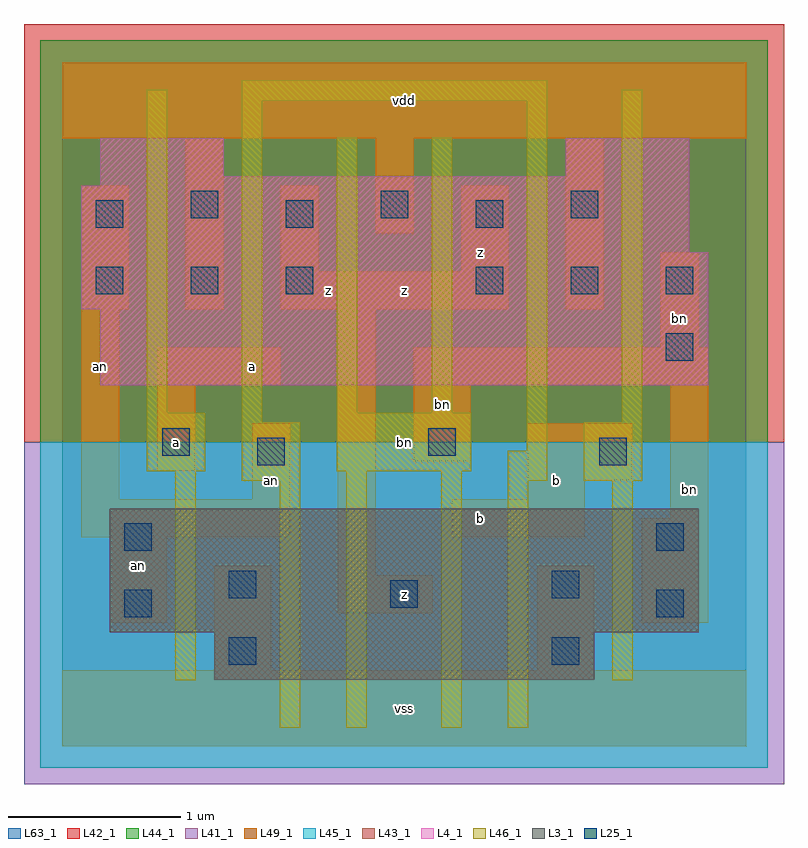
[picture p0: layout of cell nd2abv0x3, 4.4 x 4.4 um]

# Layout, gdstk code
import gdstk
lib = gdstk.Library(unit=1e-6, precision=1e-09)
def R(c, l, rs):  # rectangles x0, y0, x1, y1
    for r in rs: c.add(gdstk.rectangle(r[:2], r[2:], *l))
def A(c, l, x, y, w, h, nx, ny, dx, dy):  # array of equal rectangles
    R(c, l, [(x+i*dx, y+j*dy, x+i*dx+w, y+j*dy+h) for i in range(nx) for j in range(ny)])
L3_1 = (3, 1)
L4_1 = (4, 1)
L25_1 = (25, 1)
L41_1 = (41, 1)
L42_1 = (42, 1)
L43_1 = (43, 1)
L44_1 = (44, 1)
L45_1 = (45, 1)
L46_1 = (46, 1)
L49_1 = (49, 1)
L63_1 = (63, 1)

nd2abv0x3 = lib.new_cell('nd2abv0x3')
R(nd2abv0x3, L3_1, [(0.88,0.385,3.08,0.66), (0.275,0.66,3.685,1.375)])
R(nd2abv0x3, L4_1, [(0.22,2.09,3.74,2.53), (0.11,2.53,3.74,2.86), (0.11,2.86,3.63,3.245), (0.22,3.245,3.63,3.3), (0.22,3.3,0.935,3.52), (2.915,3.3,3.63,3.52)])
A(nd2abv0x3, L25_1, 0.195, 2.615, 0.16, 0.16, 3, 1, 0.55, 0)
A(nd2abv0x3, L25_1, 2.395, 2.615, 0.16, 0.16, 3, 1, 0.55, 0)
A(nd2abv0x3, L25_1, 0.195, 3, 0.16, 0.16, 3, 1, 1.1, 0)
A(nd2abv0x3, L25_1, 0.745, 3.055, 0.16, 0.16, 3, 1, 1.1, 0)
R(nd2abv0x3, L25_1, [(0.965,0.47,1.125,0.63), (2.835,0.47,2.995,0.63), (0.36,0.745,0.52,0.905), (3.44,0.745,3.6,0.905), (1.9,0.8,2.06,0.96), (0.965,0.855,1.125,1.015), (2.835,0.855,2.995,1.015), (0.36,1.13,0.52,1.29), (3.44,1.13,3.6,1.29), (1.13,1.625,1.29,1.785), (3.11,1.625,3.27,1.785), (0.58,1.68,0.74,1.84), (2.12,1.68,2.28,1.84), (3.495,2.23,3.655,2.39)])
R(nd2abv0x3, L41_1, [(-0.22,-0.22,4.18,1.76)])
R(nd2abv0x3, L42_1, [(-0.22,1.76,4.18,4.18)])
R(nd2abv0x3, L43_1, [(0.88,0.385,3.08,0.66), (0.275,0.66,3.685,1.375), (0.22,2.09,3.74,2.53), (0.11,2.53,3.74,2.86), (0.11,2.86,3.63,3.245), (0.22,3.245,3.63,3.3), (0.22,3.3,0.935,3.52), (2.915,3.3,3.63,3.52)])
R(nd2abv0x3, L44_1, [(-0.125,1.76,4.085,4.085)])
R(nd2abv0x3, L45_1, [(-0.125,-0.125,4.085,1.76)])
R(nd2abv0x3, L46_1, [(1.26,0.105,1.38,1.535), (1.645,0.105,1.765,1.59), (2.195,0.105,2.315,1.59), (2.58,0.105,2.7,1.535), (0.655,0.38,0.775,1.59), (3.185,0.38,3.305,1.535), (1.04,1.535,1.38,1.875), (2.58,1.535,2.81,1.71), (3.02,1.535,3.36,1.875), (0.49,1.59,0.83,1.93), (1.59,1.59,2.37,1.93), (2.69,1.71,2.81,3.735), (1.04,1.875,1.16,3.735), (3.24,1.875,3.36,3.8), (0.49,1.93,0.61,3.8), (1.59,1.93,1.71,3.525), (2.14,1.93,2.26,3.525), (1.04,3.735,2.81,3.855)])
R(nd2abv0x3, L49_1, [(0,0,3.96,0.44), (0.88,0.44,1.21,1.045), (2.75,0.44,3.08,1.045), (0.275,0.715,0.605,1.21), (3.355,0.715,3.74,1.32), (1.595,0.77,2.145,0.99), (1.595,0.99,1.815,2.53), (0.11,1.21,1.32,1.43), (2.255,1.21,3.025,1.43), (3.52,1.32,3.74,2.09), (0.11,1.43,0.33,2.53), (1.1,1.43,1.32,1.87), (2.695,1.43,3.025,1.54), (2.695,1.54,3.3,1.87), (0.55,1.595,0.77,2.09), (2.035,1.65,2.365,2.09), (0.55,2.09,1.265,2.31), (2.035,2.09,3.74,2.31), (3.465,2.31,3.685,2.86), (0.11,2.53,0.385,3.245), (0.715,2.53,0.935,3.52), (1.265,2.53,2.585,2.75), (2.915,2.53,3.135,3.52), (1.265,2.75,1.485,3.245), (2.31,2.75,2.585,3.245), (1.815,2.97,2.035,3.52), (0,3.52,3.96,3.96)])
R(nd2abv0x3, L63_1, [(0,0,3.96,3.96)])
nd2abv0x3.add(gdstk.Label('bn', (1.98,1.76), layer=46, texttype=1))
nd2abv0x3.add(gdstk.Label('an', (0.44,1.045), layer=49, texttype=1))
nd2abv0x3.add(gdstk.Label('a', (0.66,1.76), layer=49, texttype=1))
nd2abv0x3.add(gdstk.Label('an', (0.22,2.2), layer=49, texttype=1))
nd2abv0x3.add(gdstk.Label('an', (1.21,1.54), layer=49, texttype=1))
nd2abv0x3.add(gdstk.Label('a', (1.1,2.2), layer=49, texttype=1))
nd2abv0x3.add(gdstk.Label('z', (1.54,2.64), layer=49, texttype=1))
nd2abv0x3.add(gdstk.Label('vss', (1.98,0.22), layer=49, texttype=1))
nd2abv0x3.add(gdstk.Label('z', (1.98,0.88), layer=49, texttype=1))
nd2abv0x3.add(gdstk.Label('b', (2.42,1.32), layer=49, texttype=1))
nd2abv0x3.add(gdstk.Label('b', (2.86,1.54), layer=49, texttype=1))
nd2abv0x3.add(gdstk.Label('bn', (2.2,1.98), layer=49, texttype=1))
nd2abv0x3.add(gdstk.Label('z', (1.98,2.64), layer=49, texttype=1))
nd2abv0x3.add(gdstk.Label('z', (2.42,2.86), layer=49, texttype=1))
nd2abv0x3.add(gdstk.Label('vdd', (1.98,3.74), layer=49, texttype=1))
nd2abv0x3.add(gdstk.Label('bn', (3.575,2.475), layer=49, texttype=1))
nd2abv0x3.add(gdstk.Label('bn', (3.63,1.485), layer=49, texttype=1))

lib.write_gds('nd2abv0x3.gds')
